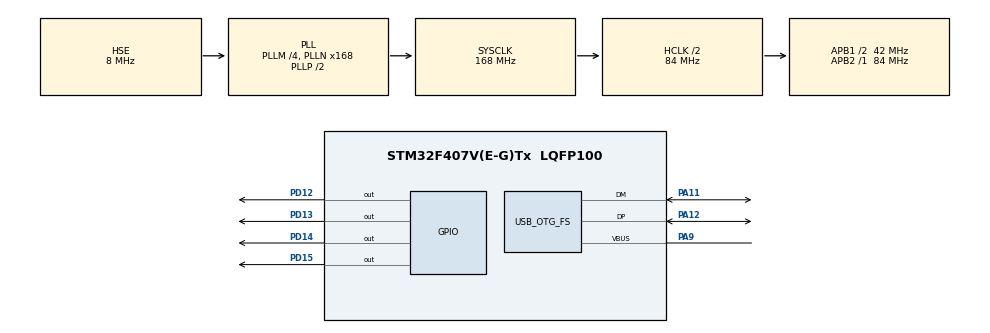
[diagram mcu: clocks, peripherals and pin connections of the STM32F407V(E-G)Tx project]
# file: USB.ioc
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Mcu.Family=STM32F4
Mcu.Name=STM32F407V(E-G)Tx
Mcu.Package=LQFP100
NVIC.OTG_FS_IRQn=true\:0\:0\:false\:false\:true\:false
NVIC.PriorityGroup=NVIC_PRIORITYGROUP_4
PA11.Mode=Device_Only
PA11.Signal=USB_OTG_FS_DM
PA12.Mode=Device_Only
PA12.Signal=USB_OTG_FS_DP
PA9.Mode=Activate_VBUS
PA9.Signal=USB_OTG_FS_VBUS
PD12.Signal=GPIO_Output
PD13.Signal=GPIO_Output
PD14.Signal=GPIO_Output
PD15.Signal=GPIO_Output
PH0-OSC_IN.Mode=HSE-External-Oscillator
PH0-OSC_IN.Signal=RCC_OSC_IN
PH1-OSC_OUT.Mode=HSE-External-Oscillator
PH1-OSC_OUT.Signal=RCC_OSC_OUT
ProjectManager.HeapSize=0x2000
ProjectManager.StackSize=0x4000
ProjectManager.TargetToolchain=MDK-ARM V5
RCC.48MHZClocksFreq_Value=48000000
RCC.AHBCLKDivider=RCC_SYSCLK_DIV2
RCC.AHBFreq_Value=84000000
RCC.APB1CLKDivider=RCC_HCLK_DIV2
RCC.APB1Freq_Value=42000000
RCC.APB1TimFreq_Value=84000000
RCC.APB2Freq_Value=84000000
RCC.APB2TimFreq_Value=84000000
RCC.CortexFreq_Value=84000000
RCC.HCLKFreq_Value=84000000
RCC.HSE_VALUE=8000000
RCC.HSI_VALUE=16000000
RCC.LSE_VALUE=32768
RCC.PLLM=4
RCC.PLLN=168
RCC.PLLQ=7
RCC.SYSCLKFreq_VALUE=168000000
RCC.SYSCLKSource=RCC_SYSCLKSOURCE_PLLCLK
RCC.VCOOutputFreq_Value=336000000
USB_DEVICE.CLASS_NAME_FS=CDC
USB_DEVICE.VirtualMode-CDC_FS=Cdc
USB_DEVICE.VirtualModeFS=Cdc_FS
USB_OTG_FS.VirtualMode=Device_Only
VP_USB_DEVICE_VS_USB_DEVICE_CDC_FS.Mode=CDC_FS
board=custom

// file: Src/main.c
/* USER CODE BEGIN Header */
/**
  ******************************************************************************
  * @file           : main.c
  * @brief          : Main program body
  ******************************************************************************
  * This notice applies to any and all portions of this file
  * that are not between comment pairs USER CODE BEGIN and
  * USER CODE END. Other portions of this file, whether
  * inserted by the user or by software development tools
  * are owned by their respective copyright owners.
  *
  * Copyright (c) 2019 STMicroelectronics International N.V.
  * All rights reserved.
  *
  * Redistribution and use in source and binary forms, with or without
  * modification, are permitted, provided that the following conditions are met:
  *
  * 1. Redistribution of source code must retain the above copyright notice,
  *    this list of conditions and the following disclaimer.
  * 2. Redistributions in binary form must reproduce the above copyright notice,
  *    this list of conditions and the following disclaimer in the documentation
  *    and/or other materials provided with the distribution.
  * 3. Neither the name of STMicroelectronics nor the names of other
  *    contributors to this software may be used to endorse or promote products
  *    derived from this software without specific written permission.
  * 4. This software, including modifications and/or derivative works of this
  *    software, must execute solely and exclusively on microcontroller or
  *    microprocessor devices manufactured by or for STMicroelectronics.
  * 5. Redistribution and use of this software other than as permitted under
  *    this license is void and will automatically terminate your rights under
  *    this license.
  *
  * THIS SOFTWARE IS PROVIDED BY STMICROELECTRONICS AND CONTRIBUTORS "AS IS"
  * AND ANY EXPRESS, IMPLIED OR STATUTORY WARRANTIES, INCLUDING, BUT NOT
  * LIMITED TO, THE IMPLIED WARRANTIES OF MERCHANTABILITY, FITNESS FOR A
  * PARTICULAR PURPOSE AND NON-INFRINGEMENT OF THIRD PARTY INTELLECTUAL PROPERTY
  * RIGHTS ARE DISCLAIMED TO THE FULLEST EXTENT PERMITTED BY LAW. IN NO EVENT
  * SHALL STMICROELECTRONICS OR CONTRIBUTORS BE LIABLE FOR ANY DIRECT, INDIRECT,
  * INCIDENTAL, SPECIAL, EXEMPLARY, OR CONSEQUENTIAL DAMAGES (INCLUDING, BUT NOT
  * LIMITED TO, PROCUREMENT OF SUBSTITUTE GOODS OR SERVICES; LOSS OF USE, DATA,
  * OR PROFITS; OR BUSINESS INTERRUPTION) HOWEVER CAUSED AND ON ANY THEORY OF
  * LIABILITY, WHETHER IN CONTRACT, STRICT LIABILITY, OR TORT (INCLUDING
  * NEGLIGENCE OR OTHERWISE) ARISING IN ANY WAY OUT OF THE USE OF THIS SOFTWARE,
  * EVEN IF ADVISED OF THE POSSIBILITY OF SUCH DAMAGE.
  *
  ******************************************************************************
  */
/* USER CODE END Header */

#include "main.h"
#include "usb_device.h"

/* USER CODE BEGIN Includes */
#include "usbd_cdc_if.h"
#include <string.h>
/*
	USB üzeirnden bilgisayar ile haberlesir
	Son gelen datayi usbRxBuff degiskeninde tutar ve her saniye usb ye yazdirir
	Gelen dataya göre led yakar
	usb receive fonksiyonu usb_cdc_if icerisinde
	driver:
	https://www.st.com/en/development-tools/stsw-stm32102.html
*/
/* USER CODE END Includes */

/* USER CODE BEGIN PV */
uint8_t usbTxBuff[50] , usbRxBuff[50];

/* USER CODE END PV */

void SystemClock_Config(void);
static void MX_GPIO_Init(void);
/* USER CODE BEGIN PFP */
void ledYak(char led_pin) //usb_cdc_if icerisinde kullaniliyor
{
	switch(led_pin) {
		case '1':
			HAL_GPIO_WritePin(GPIOD,GPIO_PIN_12,GPIO_PIN_SET);
			HAL_GPIO_WritePin(GPIOD,GPIO_PIN_13,GPIO_PIN_RESET);
      HAL_GPIO_WritePin(GPIOD,GPIO_PIN_14,GPIO_PIN_RESET);
      HAL_GPIO_WritePin(GPIOD,GPIO_PIN_15,GPIO_PIN_RESET);
      break;
		case '2':
      HAL_GPIO_WritePin(GPIOD,GPIO_PIN_12,GPIO_PIN_RESET);
			HAL_GPIO_WritePin(GPIOD,GPIO_PIN_13,GPIO_PIN_SET);
      HAL_GPIO_WritePin(GPIOD,GPIO_PIN_14,GPIO_PIN_RESET);
      HAL_GPIO_WritePin(GPIOD,GPIO_PIN_15,GPIO_PIN_RESET);
      break;
		case '3':
      HAL_GPIO_WritePin(GPIOD,GPIO_PIN_12,GPIO_PIN_RESET);
			HAL_GPIO_WritePin(GPIOD,GPIO_PIN_13,GPIO_PIN_RESET);
      HAL_GPIO_WritePin(GPIOD,GPIO_PIN_14,GPIO_PIN_SET);
      HAL_GPIO_WritePin(GPIOD,GPIO_PIN_15,GPIO_PIN_RESET);
      break;
		case '4':
      HAL_GPIO_WritePin(GPIOD,GPIO_PIN_12,GPIO_PIN_RESET);
			HAL_GPIO_WritePin(GPIOD,GPIO_PIN_13,GPIO_PIN_RESET);
      HAL_GPIO_WritePin(GPIOD,GPIO_PIN_14,GPIO_PIN_RESET);
      HAL_GPIO_WritePin(GPIOD,GPIO_PIN_15,GPIO_PIN_SET);
      break;
		case '5':
      HAL_GPIO_WritePin(GPIOD,GPIO_PIN_12,GPIO_PIN_SET);
			HAL_GPIO_WritePin(GPIOD,GPIO_PIN_13,GPIO_PIN_SET);
      HAL_GPIO_WritePin(GPIOD,GPIO_PIN_14,GPIO_PIN_SET);
      HAL_GPIO_WritePin(GPIOD,GPIO_PIN_15,GPIO_PIN_SET);
      break;
    default :
      HAL_GPIO_WritePin(GPIOD,GPIO_PIN_12,GPIO_PIN_RESET);
			HAL_GPIO_WritePin(GPIOD,GPIO_PIN_13,GPIO_PIN_RESET);
      HAL_GPIO_WritePin(GPIOD,GPIO_PIN_14,GPIO_PIN_RESET);
      HAL_GPIO_WritePin(GPIOD,GPIO_PIN_15,GPIO_PIN_RESET);
   }
}
/* USER CODE END PFP */

int main(void)
{

  /* MCU Configuration--------------------------------------------------------*/

  /* Reset of all peripherals, Initializes the Flash interface and the Systick. */
  HAL_Init();

  /* Configure the system clock */
  SystemClock_Config();

  /* Initialize all configured peripherals */
  MX_GPIO_Init();
  MX_USB_DEVICE_Init();

  /* Infinite loop */
  while (1)
  {

    /* USER CODE BEGIN 3 */
		sprintf((char *)usbTxBuff,"Son gelen data:%s\r\n", usbRxBuff);
		CDC_Transmit_FS(usbTxBuff,strlen( (char *)usbTxBuff));
		HAL_Delay(1000);
  }
  /* USER CODE END 3 */
}

void SystemClock_Config(void)
{
  RCC_OscInitTypeDef RCC_OscInitStruct = {0};
  RCC_ClkInitTypeDef RCC_ClkInitStruct = {0};

  /**Configure the main internal regulator output voltage
  */
  __HAL_RCC_PWR_CLK_ENABLE();
  __HAL_PWR_VOLTAGESCALING_CONFIG(PWR_REGULATOR_VOLTAGE_SCALE1);
  /**Initializes the CPU, AHB and APB busses clocks
  */
  RCC_OscInitStruct.OscillatorType = RCC_OSCILLATORTYPE_HSE;
  RCC_OscInitStruct.HSEState = RCC_HSE_ON;
  RCC_OscInitStruct.PLL.PLLState = RCC_PLL_ON;
  RCC_OscInitStruct.PLL.PLLSource = RCC_PLLSOURCE_HSE;
  RCC_OscInitStruct.PLL.PLLM = 4;
  RCC_OscInitStruct.PLL.PLLN = 168;
  RCC_OscInitStruct.PLL.PLLP = RCC_PLLP_DIV2;
  RCC_OscInitStruct.PLL.PLLQ = 7;
  if (HAL_RCC_OscConfig(&RCC_OscInitStruct) != HAL_OK)
  {
    Error_Handler();
  }
  /**Initializes the CPU, AHB and APB busses clocks
  */
  RCC_ClkInitStruct.ClockType = RCC_CLOCKTYPE_HCLK|RCC_CLOCKTYPE_SYSCLK
                              |RCC_CLOCKTYPE_PCLK1|RCC_CLOCKTYPE_PCLK2;
  RCC_ClkInitStruct.SYSCLKSource = RCC_SYSCLKSOURCE_PLLCLK;
  RCC_ClkInitStruct.AHBCLKDivider = RCC_SYSCLK_DIV2;
  RCC_ClkInitStruct.APB1CLKDivider = RCC_HCLK_DIV2;
  RCC_ClkInitStruct.APB2CLKDivider = RCC_HCLK_DIV1;

  if (HAL_RCC_ClockConfig(&RCC_ClkInitStruct, FLASH_LATENCY_2) != HAL_OK)
  {
    Error_Handler();
  }
}

static void MX_GPIO_Init(void)
{
  GPIO_InitTypeDef GPIO_InitStruct = {0};

  /* GPIO Ports Clock Enable */
  __HAL_RCC_GPIOH_CLK_ENABLE();
  __HAL_RCC_GPIOD_CLK_ENABLE();
  __HAL_RCC_GPIOA_CLK_ENABLE();

  /*Configure GPIO pin Output Level */
  HAL_GPIO_WritePin(GPIOD, GPIO_PIN_12|GPIO_PIN_13|GPIO_PIN_14|GPIO_PIN_15, GPIO_PIN_RESET);

  /*Configure GPIO pins : PD12 PD13 PD14 PD15 */
  GPIO_InitStruct.Pin = GPIO_PIN_12|GPIO_PIN_13|GPIO_PIN_14|GPIO_PIN_15;
  GPIO_InitStruct.Mode = GPIO_MODE_OUTPUT_PP;
  GPIO_InitStruct.Pull = GPIO_NOPULL;
  GPIO_InitStruct.Speed = GPIO_SPEED_FREQ_LOW;
  HAL_GPIO_Init(GPIOD, &GPIO_InitStruct);

}

void Error_Handler(void)
{
}

/************************ (C) COPYRIGHT STMicroelectronics *****END OF FILE****/
